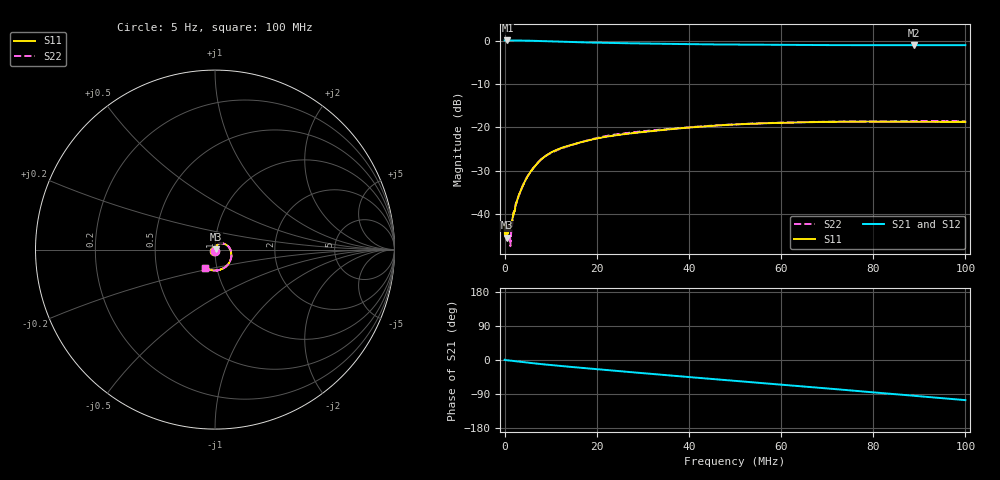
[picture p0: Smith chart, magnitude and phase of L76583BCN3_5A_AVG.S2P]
!Agilent Technologies,E5061B,MY49102235,A.02.00
!Date: Tue Jul 11 15:38:15 2023
!Data & Calibration Information:
!Freq	S11:SOLT2(ON)	S21:SOLT2(ON)	S12:SOLT2(ON)	S22:SOLT2(ON)
# Hz S RI R 50
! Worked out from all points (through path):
!   1600 points, 5 Hz to 100 MHz, reference 50 ohm
!   highest |S21| = 0.02 dB at 625.4 kHz (marker M1); lowest = -1.1 dB at 88.87 MHz (marker M2)
!   group delay of S21, straight-line fit = 2.86 ns
!   lowest |S11| = -45.4 dB at 500.3 kHz (marker M3), VSWR 1.01, Z = 50.5 + j0.257 ohm
!   |S11| at or under -10 dB: start of sweep to end of sweep
!   |S22| runs from -47.4 to -18.5 dB; largest |S21 - S12| = 0.0027
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5  -0.00523 -0.00564  1.002 0.00805  1 0.0103  -0.00157 -0.00755
500317.7  0.00471 0.00254  1.001 -0.0107  1.001 -0.0106  0.00493 0.000961
625395.8  0.00526 0.00314  1.002 -0.0143  1.002 -0.0139  0.00628 0.00277
1000630  0.00411 0.00523  1.001 -0.0224  1.001 -0.022  0.00547 0.00429
1313326  0.00499 0.00564  1.001 -0.0295  1.001 -0.0294  0.00318 0.00408
1688560  0.00457 0.00737  0.9999 -0.0395  1.001 -0.0395  0.00428 0.00656
2063795  0.00414 0.00996  1 -0.0487  0.9998 -0.0488  0.00456 0.00977
2376490  0.0046 0.0114  0.9985 -0.0557  0.9989 -0.056  0.00526 0.0117
2939342  0.00627 0.0143  0.9977 -0.0694  0.9971 -0.0693  0.00523 0.0147
3502194  0.00725 0.017  0.9959 -0.083  0.9957 -0.0827  0.00633 0.0176
4878054  0.0112 0.0241  0.9902 -0.1159  0.9899 -0.1158  0.0107 0.0246
6504070  0.0178 0.0304  0.9799 -0.1535  0.98 -0.1532  0.0174 0.0308
8317703  0.0272 0.035  0.9653 -0.1922  0.9651 -0.192  0.0269 0.0354
1.044403e7  0.0385 0.0354  0.9464 -0.2327  0.9462 -0.2322  0.0378 0.0356
1.669794e7  0.0619 0.0269  0.8917 -0.3371  0.8915 -0.3368  0.0618 0.0269
2.332708e7  0.079 0.0113  0.83 -0.4366  0.8296 -0.4364  0.0808 0.0102
3.333334e7  0.09 -0.0194  0.7228 -0.568  0.7227 -0.5676  0.0913 -0.0204
5.003127e7  0.0792 -0.0732  0.5137 -0.7359  0.5136 -0.7356  0.0791 -0.074
6.672921e7  0.0363 -0.1089  0.2771 -0.8428  0.2774 -0.8427  0.0373 -0.1091
8.33646e7  -0.0119 -0.1156  0.0206 -0.8845  0.0206 -0.8845  -0.0108 -0.1171
8.886804e7  -0.0269 -0.113  -0.067 -0.882  -0.0668 -0.8822  -0.0258 -0.115
1e8  -0.0544 -0.1021  -0.243 -0.8514  -0.2427 -0.8513  -0.0532 -0.1048
